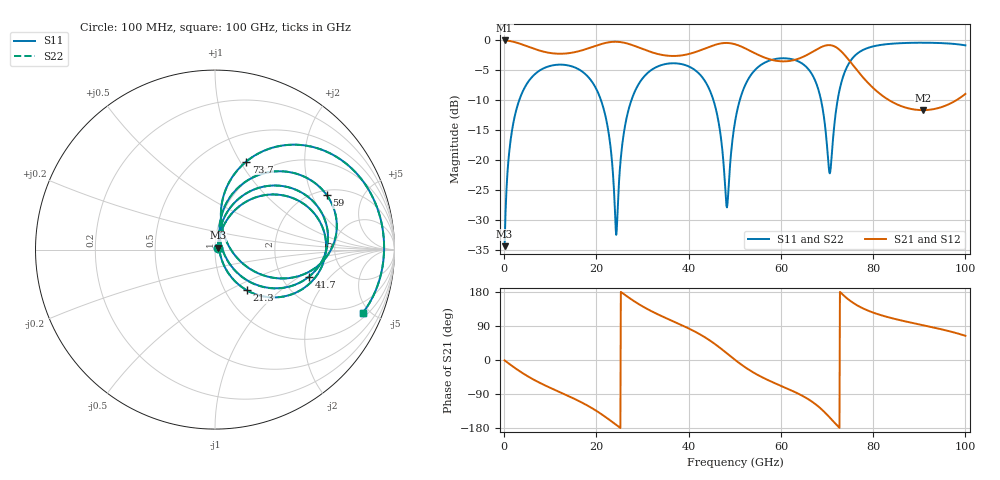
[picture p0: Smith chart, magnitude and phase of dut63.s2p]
! Touchstone file exported from HFSS 2026.1.0
!  File:  C:/ffzhzh/LocalFiles/Ansys_Project_Files/temp_train_TSV_RDL_63_1783447762_28540.aedt
!  Generated:  02:18:30 AM Jul  8, 2026
!  Design:  TSV_RDL
!  Project:  temp_train_TSV_RDL_63_1783447762_28540
! Variables:
!  h_bsmrdl = 2.86um
!  h_ox = 20um
!  h_rdl = 5um
!  h_sub = 60.62um
!  h_tmrdl = 4.07um
!  h_tsv = 60.62um
!  h_via = 3um
!  l_bsmrdl = 120.05um
!  l_sub = 2326.99um
!  l_tmrdl = 374.55um
!  m_sub = 200um
!  pitch = 57.97um
!  r_tsv = 13.62um
!  s_tmrdl = 10um
!  w_bsmrdl = 10.03um
!  w_sub = 500um
!  w_tmrdl = 12.85um
!  x_tsv_center1 = 380.975um
!  x_tsv_center2 = 511.055um
!  x_tsv_center3 = 898.455um
!  x_tsv_center4 = 1028.535um
!  x_tsv_center5 = 1415.935um
!  x_tsv_center6 = 1546.015um
# GHz S MA R 50.000000
! Terminal data exported
! Port[1] = TM_RDL1_1_T1
! Port[2] = TM_RDL5_1_T1
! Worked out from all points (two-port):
!   1000 points, 100 MHz to 100 GHz, reference 50 ohm
!   highest |S21| = -0.14 dB at 100 MHz (marker M1); lowest = -11.7 dB at 90.8 GHz (marker M2)
!   |S21| within 3 dB of the highest: start of sweep to 57.03 GHz; 63.95 GHz to 74.46 GHz (10.52 GHz wide, 15.2 % of centre)
!   lowest |S11| = -34.3 dB at 100 MHz (marker M3), VSWR 1.04, Z = 51.6 + j1.11 ohm
!   |S11| at or under -10 dB: 20.96 GHz to 27.62 GHz (6.659 GHz wide, 27.4 % of centre); 45.34 GHz to 51.11 GHz (5.767 GHz wide, 12 % of centre); 68.69 GHz to 72.31 GHz (3.621 GHz wide, 5.14 % of centre) (the widest 3 of 4)
!   |S22| runs from -34.3 to -0.5 dB; largest |S21 - S12| = 1.7e-14
!   S11 on the Smith chart (normalised r, x): 100 MHz: 1.03, +0.02; 21.3 GHz: 1.26, -0.63; 41.7 GHz: 2.83, -1.21; 59 GHz: 2.21, +2.59; 73.7 GHz: 0.79, +1.06; 100 GHz: 1.27, -4.56
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0.1  0.01919 34.0  0.9842 -0.9  0.9842 -0.9  0.01919 34.0
! Gamma 0 0 0 0
! Port Impedance 50 0 50 0
1.5  0.156 69.4  0.9692 -13.7  0.9692 -13.7  0.156 69.4
4.2  0.3827 50.6  0.9026 -36.2  0.9026 -36.2  0.3827 50.6
10.6  0.612 11.6  0.769 -76.8  0.769 -76.8  0.612 11.6
16.8  0.547 -22.2  0.8132 -111.9  0.8132 -111.9  0.547 -22.2
21.3  0.289 -51.8  0.9246 -144.7  0.9246 -144.7  0.289 -51.9
22.9  0.1442 -60.6  0.9529 -158.5  0.9529 -158.5  0.1442 -60.7
24.3  0.02385 5.9  0.9599 -171.2  0.9599 -171.2  0.02365 5.8
27.2  0.2813 67.6  0.9162 163.1  0.9162 163.1  0.2812 67.6
33.4  0.6008 28.4  0.7581 120.0  0.7581 120.0  0.6008 28.4
41.7  0.5457 -15.9  0.7938 72.8  0.7938 72.8  0.5458 -16.0
45.9  0.2648 -42.7  0.9094 40.3  0.9094 40.3  0.2648 -42.9
48.2  0.04163 2.8  0.9384 18.5  0.9384 18.5  0.0406 2.3
50.1  0.2126 78.6  0.9143 0.0  0.9143 0.0  0.2123 78.9
53.3  0.4954 58.3  0.8079 -27.5  0.8079 -27.5  0.4952 58.4
59  0.6926 26.1  0.6669 -62.9  0.6669 -62.9  0.6925 26.1
66.7  0.5182 -15.1  0.7849 -109.5  0.7849 -109.5  0.5184 -15.1
70.6  0.07733 26.2  0.9003 -151.8  0.9003 -151.8  0.07767 26.1
73.7  0.5202 70.5  0.7541 169.4  0.7541 169.4  0.5201 70.5
83.4  0.9203 20.7  0.3147 112.4  0.3147 112.4  0.9202 20.7
90.8  0.9424 1.9  0.2594 91.8  0.2594 91.8  0.9424 1.9
100  0.8963 -23.1  0.3537 63.8  0.3537 63.8  0.8963 -23.2
